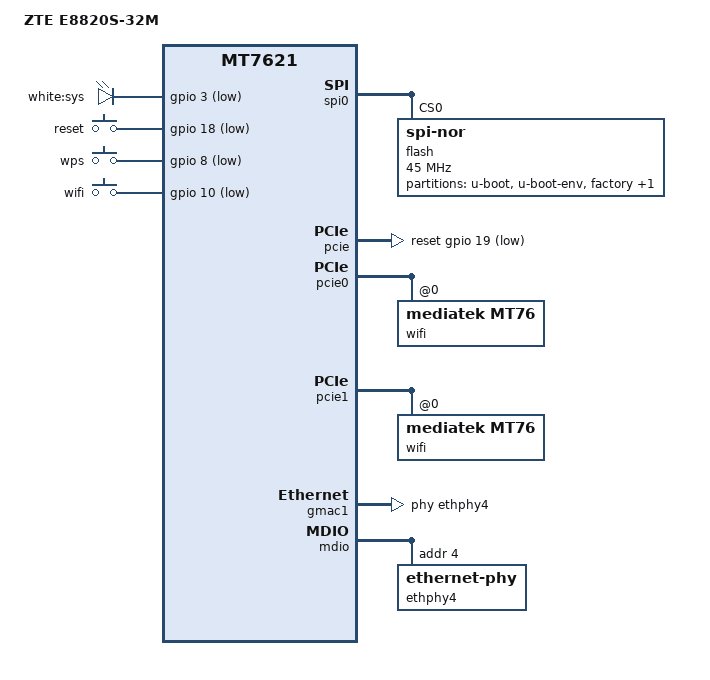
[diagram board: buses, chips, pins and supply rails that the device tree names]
#include "mt7621.dtsi"

#include <dt-bindings/gpio/gpio.h>
#include <dt-bindings/input/input.h>

/ {
	compatible = "zte,e8820s-32m", "mediatek,mt7621-soc";
	model = "ZTE E8820S-32M";

	aliases {
		led-boot = &led_sys;
		led-failsafe = &led_sys;
		led-running = &led_sys;
		led-upgrade = &led_sys;
	};

	leds {
		compatible = "gpio-leds";

		led_sys: sys {
			label = "white:sys";
			gpios = <&gpio 3 GPIO_ACTIVE_LOW>;
		};

	};

	keys {
		compatible = "gpio-keys";

		reset {
			label = "reset";
			gpios = <&gpio 18 GPIO_ACTIVE_LOW>;
			linux,code = <KEY_RESTART>;
		};

		wps {
			label = "wps";
			gpios = <&gpio 8 GPIO_ACTIVE_LOW>;
			linux,code = <KEY_WPS_BUTTON>;
		};

		wifi {
			label = "wifi";
			gpios = <&gpio 10 GPIO_ACTIVE_LOW>;
			linux,code = <KEY_RFKILL>;
		};
	};
};

&spi0 {
	status = "okay";

	flash@0 {
		compatible = "jedec,spi-nor";
		reg = <0>;
		spi-max-frequency = <45000000>;
		broken-flash-reset;

		partitions {
			compatible = "fixed-partitions";
			#address-cells = <1>;
			#size-cells = <1>;

			partition@0 {
				label = "u-boot";
				reg = <0x0 0x30000>;
				read-only;
			};

			partition@30000 {
				label = "u-boot-env";
				reg = <0x30000 0x10000>;
				read-only;
			};

			factory: partition@40000 {
				label = "factory";
				reg = <0x40000 0x10000>;
				read-only;
			};

			partition@50000 {
				compatible = "denx,uimage";
				label = "firmware";
				reg = <0x50000 0x1fb0000>;
			};
		};
	};
};

&pcie {
	status = "okay";
	reset-gpios = <&gpio 19 GPIO_ACTIVE_LOW>,
				  <&gpio 4 GPIO_ACTIVE_LOW>;
};

&pcie0 {
	wifi@0,0 {
		compatible = "mediatek,mt76";
		reg = <0x0000 0 0 0 0>;
		mediatek,mtd-eeprom = <&factory 0x000>;
		nvmem-cells = <&macaddr_factory_4>;
		nvmem-cell-names = "mac-address";

		led {
			led-active-low;
		};
	};
};

&pcie1 {
	wifi@0,0 {
		compatible = "mediatek,mt76";
		reg = <0x0000 0 0 0 0>;
		mediatek,mtd-eeprom = <&factory 0x800>;
		nvmem-cells = <&macaddr_factory_4>;
		nvmem-cell-names = "mac-address";
		mac-address-increment = <1>;
		ieee80211-freq-limit = <5000000 6000000>;
		led {
			led-sources = <2>;
			led-active-low;
		};
	};
};

&gmac0 {
	nvmem-cells = <&macaddr_factory_4>;
	nvmem-cell-names = "mac-address";
	mac-address-increment = <1>;
};

&gmac1 {
	status = "okay";
	label = "wan";
	phy-handle = <&ethphy4>;

	nvmem-cells = <&macaddr_factory_4>;
	nvmem-cell-names = "mac-address";
};

&mdio {
	ethphy4: ethernet-phy@4 {
		reg = <4>;
	};
};

&switch0 {
	ports {
		port@0 {
			status = "okay";
			label = "lan1";
		};

		port@1 {
			status = "okay";
			label = "lan2";
		};

		port@2 {
			status = "okay";
			label = "lan3";
		};

		port@3 {
			status = "okay";
			label = "lan4";
		};
	};
};

&state_default {
	gpio {
		groups = "i2c", "jtag", "uart2", "uart3", "wdt";
		function = "gpio";
	};
};

&factory {
	compatible = "nvmem-cells";
	#address-cells = <1>;
	#size-cells = <1>;

	macaddr_factory_4: macaddr@4 {
		reg = <0x4 0x6>;
	};
};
